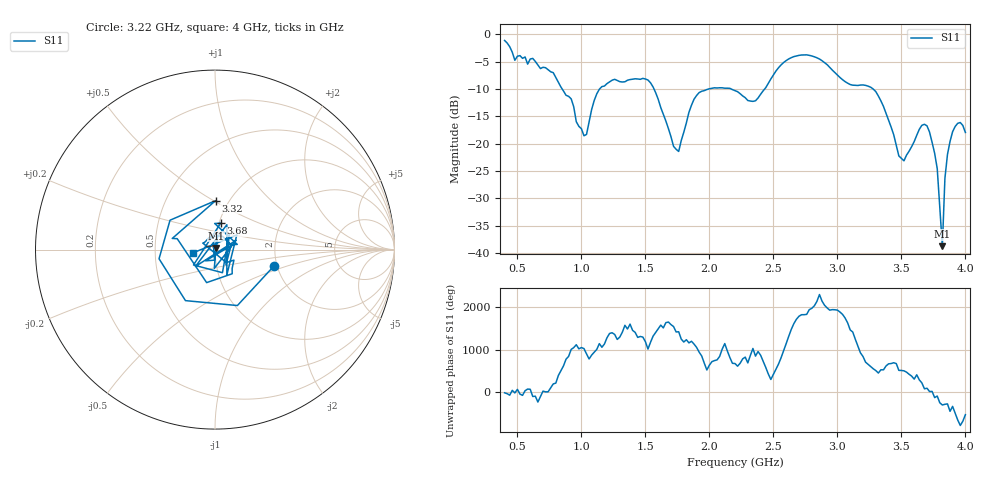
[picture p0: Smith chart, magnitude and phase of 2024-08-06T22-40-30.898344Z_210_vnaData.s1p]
!Created with skrf (http://scikit-rf.org).
# Hz S RI R 50.0
!freq ReS11 ImS11
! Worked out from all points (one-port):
!   181 points, 400 MHz to 4 GHz, reference 50 ohm
!   lowest |S11| = -38.8 dB at 3.82 GHz (marker M1), VSWR 1.02, Z = 50.6 + j0.976 ohm
!   |S11| at or under -10 dB: 849.8 MHz to 1.142 GHz (292.2 MHz wide, 29.3 % of centre); 1.567 GHz to 1.994 GHz (426.3 MHz wide, 23.9 % of centre); 3.279 GHz to end of sweep (the widest 3 of 4)
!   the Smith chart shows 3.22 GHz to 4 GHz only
!   S11 on the Smith chart (normalised r, x): 3.22 GHz: 1.93, -0.40; 3.32 GHz: 0.87, +0.51; 3.68 GHz: 1.02, +0.31; 4 GHz: 0.78, -0.03
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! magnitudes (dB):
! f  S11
! 400 MHz  -1.1
! 480 MHz  -4.7
! 620 MHz  -4.4
! 860 MHz  -10.4
! 1.02 GHz  -18.6
! 1.14 GHz  -10.0
! 1.3 GHz  -8.7
! 1.54 GHz  -8.9
! 1.76 GHz  -21.4
! 1.84 GHz  -14.3
! 1.92 GHz  -10.7
! 2.2 GHz  -10.3
! 2.36 GHz  -12.2
! 2.66 GHz  -4.1
! 2.86 GHz  -4.5
! 3.1 GHz  -9.2
! 3.22 GHz  -9.3
! 3.32 GHz  -11.3
! 3.48 GHz  -22.2
! 3.56 GHz  -21.4
! 3.68 GHz  -16.5
! 3.72 GHz  -17.9
! 3.78 GHz  -24.6
! 3.82 GHz  -38.8
! 3.84 GHz  -26.3
! 3.88 GHz  -19.6
! 3.94 GHz  -16.3
! 4 GHz  -17.9
